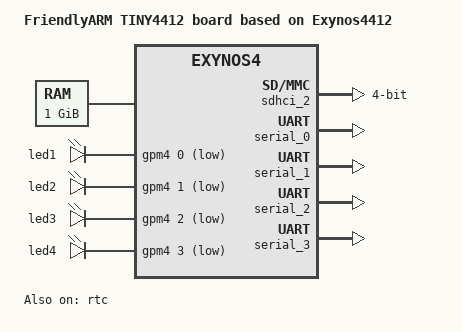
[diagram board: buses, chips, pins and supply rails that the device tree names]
// SPDX-License-Identifier: GPL-2.0
/*
 * FriendlyARM's Exynos4412 based TINY4412 board device tree source
 *
 * Copyright (c) 2013 Alex Ling <kasimling@gmail.com>
 *
 * Device tree source file for FriendlyARM's TINY4412 board which is based on
 * Samsung's Exynos4412 SoC.
 */

/dts-v1/;
#include "exynos4412.dtsi"
#include <dt-bindings/gpio/gpio.h>

/ {
	model = "FriendlyARM TINY4412 board based on Exynos4412";
	compatible = "friendlyarm,tiny4412", "samsung,exynos4412", "samsung,exynos4";

	chosen {
		stdout-path = &serial_0;
	};

	memory@40000000 {
		device_type = "memory";
		reg = <0x40000000 0x40000000>;
	};

	leds {
		compatible = "gpio-leds";

		led1 {
			label = "led1";
			gpios = <&gpm4 0 GPIO_ACTIVE_LOW>;
			default-state = "off";
			linux,default-trigger = "heartbeat";
		};

		led2 {
			label = "led2";
			gpios = <&gpm4 1 GPIO_ACTIVE_LOW>;
			default-state = "off";
		};

		led3 {
			label = "led3";
			gpios = <&gpm4 2 GPIO_ACTIVE_LOW>;
			default-state = "off";
		};

		led4 {
			label = "led4";
			gpios = <&gpm4 3 GPIO_ACTIVE_LOW>;
			default-state = "off";
			linux,default-trigger = "mmc0";
		};
	};

	fixed-rate-clocks {
		xxti {
			compatible = "samsung,clock-xxti";
			clock-frequency = <0>;
		};

		xusbxti {
			compatible = "samsung,clock-xusbxti";
			clock-frequency = <24000000>;
		};
	};

        backlight {
                compatible = "tiny4412,backlight";
                reg = <0x139D0000 0x14>;
                tiny4412,backlight = <&gpx1 2 GPIO_ACTIVE_HIGH>;
                pinctrl-names = "backlight_out","backlight_in";
                pinctrl-0 = <&backlight_out>;
                pinctrl-1 = <&backlight_in>;
		interrupts = <GIC_SPI 40 IRQ_TYPE_LEVEL_HIGH>;
                clocks = <&clock CLK_PWM>;
                clock-names = "timers";
        };
};

&pinctrl_1 {
        backlight_out: backlight_out{
                samsung,pins = "gpx1-2";
                samsung,pin-function = <1>;
                samsung,pin-pud = <0>;
                samsung,pin-drv = <0>;
        };
         backlight_in: backlight_in{
                samsung,pins = "gpx1-2";
                samsung,pin-function = <0>;
                samsung,pin-pud = <0>;
                samsung,pin-drv = <0>;
        };
};

&rtc {
	status = "okay";
};

&sdhci_2 {
	bus-width = <4>;
	pinctrl-0 = <&sd2_clk &sd2_cmd &sd2_cd &sd2_bus4>;
	pinctrl-names = "default";
	status = "okay";
};

&serial_0 {
	status = "okay";
};

&serial_1 {
	status = "okay";
};

&serial_2 {
	status = "okay";
};

&serial_3 {
	status = "okay";
};
